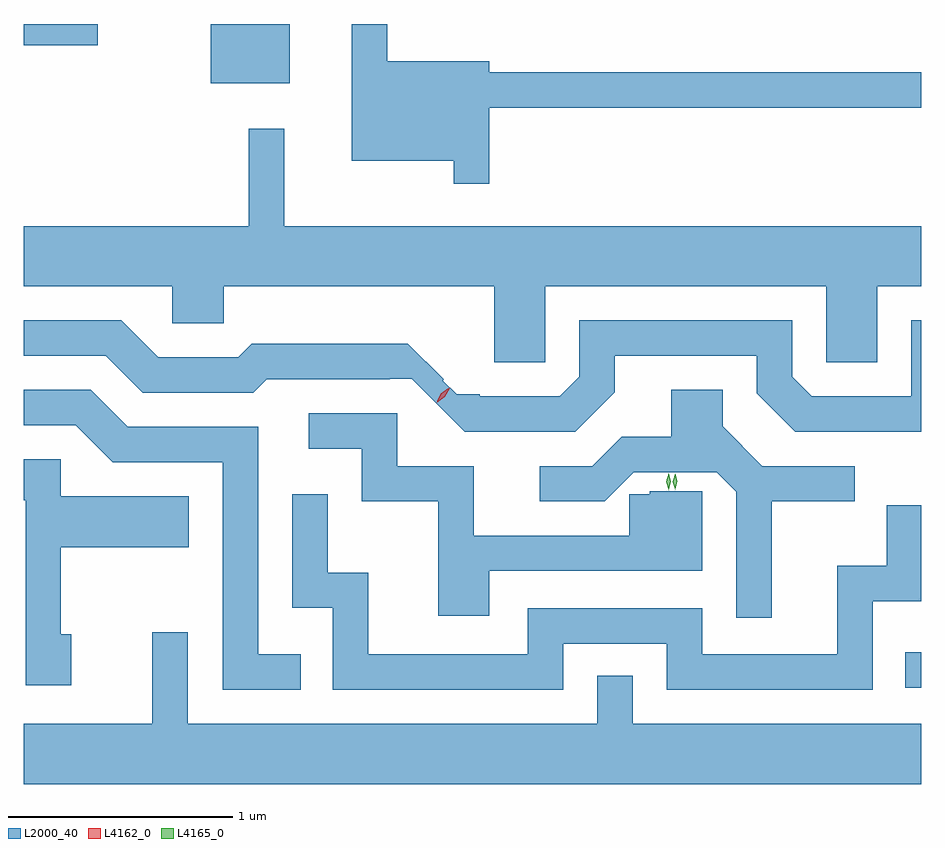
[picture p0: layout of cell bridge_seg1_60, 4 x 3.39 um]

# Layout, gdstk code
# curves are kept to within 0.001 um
import gdstk
lib = gdstk.Library(unit=1e-6, precision=1e-09)
def R(c, l, rs):  # rectangles x0, y0, x1, y1
    for r in rs: c.add(gdstk.rectangle(r[:2], r[2:], *l))
def P(c, l, *ps):  # polygons
    for p in ps: c.add(gdstk.Polygon(p, *l))
L2000_40 = (2000, 40)
L4162_0 = (4162, 0)
L4165_0 = (4165, 0)

bridge_seg1_60 = lib.new_cell('bridge_seg1_60')
R(bridge_seg1_60, L2000_40, [(1861.923,882.246,1861.994,882.404), (1858.826,884.941,1859.179,885.205), (1857.994,885.111,1858.324,885.205)])
P(bridge_seg1_60, L2000_40, [(1860.069,884.831),(1861.994,884.831),(1861.994,884.989),(1860.069,884.989),(1860.069,885.039),(1859.614,885.039),(1859.614,885.205),(1859.456,885.205),(1859.456,884.596),(1859.911,884.596),(1859.911,884.493),(1860.069,884.493)],
  [(1859.154,884.738),(1858.996,884.738),(1858.996,884.304),(1857.994,884.304),(1857.994,884.036),(1858.656,884.036),(1858.656,883.871),(1858.884,883.871),(1858.884,884.036),(1860.091,884.036),(1860.091,883.696),(1860.319,883.696),(1860.319,884.036),(1861.571,884.036),(1861.571,883.696),(1861.799,883.696),(1861.799,884.036),(1861.994,884.036),(1861.994,884.304),(1859.154,884.304)],
  [(1860.629,883.564),(1860.629,883.726),(1861.261,883.726),(1861.261,883.559),(1861.434,883.386),(1861.994,883.386),(1861.994,883.884),(1861.951,883.884),(1861.951,883.544),(1861.507,883.544),(1861.419,883.632),(1861.419,883.884),(1860.471,883.884),(1860.471,883.632),(1860.384,883.544),(1860.027,883.544),(1860.027,883.553),(1859.923,883.553),(1859.861,883.615),(1859.865,883.62),(1859.706,883.779),(1859.009,883.779),(1858.949,883.719),(1858.592,883.719),(1858.427,883.884),(1857.994,883.884),(1857.994,883.726),(1858.359,883.726),(1858.524,883.561),(1859.017,883.561),(1859.077,883.621),(1859.724,883.622),(1859.959,883.386),(1860.452,883.386)],
  [(1861.329,883.076),(1861.698,883.076),(1861.698,883.234),(1861.287,883.234),(1861.109,883.412),(1861.109,883.574),(1860.881,883.574),(1860.881,883.364),(1860.659,883.364),(1860.529,883.234),(1860.293,883.234),(1860.293,883.076),(1860.583,883.076),(1860.713,883.206),(1861.084,883.206),(1861.171,883.119),(1861.171,882.558),(1861.329,882.558)],
  [(1859.228,882.394),(1859.039,882.394),(1859.039,883.409),(1858.457,883.409),(1858.292,883.574),(1857.994,883.574),(1857.994,883.416),(1858.224,883.416),(1858.389,883.251),(1858.881,883.251),(1858.881,882.236),(1859.228,882.236)],
  [(1860.069,882.766),(1861.019,882.766),(1861.019,883.019),(1861.018,883.019),(1861.018,883.122),(1860.784,883.122),(1860.784,883.109),(1860.694,883.109),(1860.694,882.924),(1859.999,882.924),(1859.999,883.234),(1859.659,883.234),(1859.659,883.469),(1859.263,883.469),(1859.263,883.311),(1859.501,883.311),(1859.501,883.076),(1859.841,883.076),(1859.841,882.566),(1860.069,882.566)],
  [(1858.204,882.484),(1858.159,882.484),(1858.159,882.871),(1858.729,882.871),(1858.729,883.099),(1858.159,883.099),(1858.159,883.264),(1857.994,883.264),(1857.994,883.081),(1858.001,883.081),(1858.001,882.256),(1858.204,882.256)],
  [(1860.399,882.441),(1860.861,882.441),(1860.861,882.236),(1861.779,882.236),(1861.779,882.631),(1861.994,882.631),(1861.994,883.059),(1861.841,883.059),(1861.841,882.789),(1861.621,882.789),(1861.621,882.394),(1861.019,882.394),(1861.019,882.599),(1860.241,882.599),(1860.241,882.394),(1859.529,882.394),(1859.529,882.759),(1859.349,882.759),(1859.349,883.108),(1859.191,883.108),(1859.191,882.601),(1859.371,882.601),(1859.371,882.236),(1860.399,882.236)],
  [(1861.994,882.084),(1860.709,882.084),(1860.709,882.298),(1860.551,882.298),(1860.551,882.084),(1858.724,882.084),(1858.724,882.493),(1858.566,882.493),(1858.566,882.084),(1857.994,882.084),(1857.994,881.816),(1861.994,881.816)])
P(bridge_seg1_60, L4162_0, [(1859.836,883.521),(1859.836,883.522),(1859.853,883.557),(1859.885,883.58),(1859.886,883.58),(1859.886,883.579),(1859.868,883.544),(1859.836,883.521)],
  [(1859.834,883.515),(1859.834,883.516),(1859.856,883.555),(1859.892,883.582),(1859.893,883.582),(1859.893,883.581),(1859.871,883.542),(1859.834,883.515)])
P(bridge_seg1_60, L4165_0, [(1860.869,883.127),(1860.869,883.128),(1860.859,883.164),(1860.869,883.201),(1860.869,883.202),(1860.87,883.201),(1860.879,883.164),(1860.87,883.128)],
  [(1860.898,883.129),(1860.897,883.13),(1860.888,883.164),(1860.897,883.199),(1860.897,883.2),(1860.898,883.199),(1860.907,883.165),(1860.898,883.13)])

lib.write_gds('bridge_seg1_60.gds')
